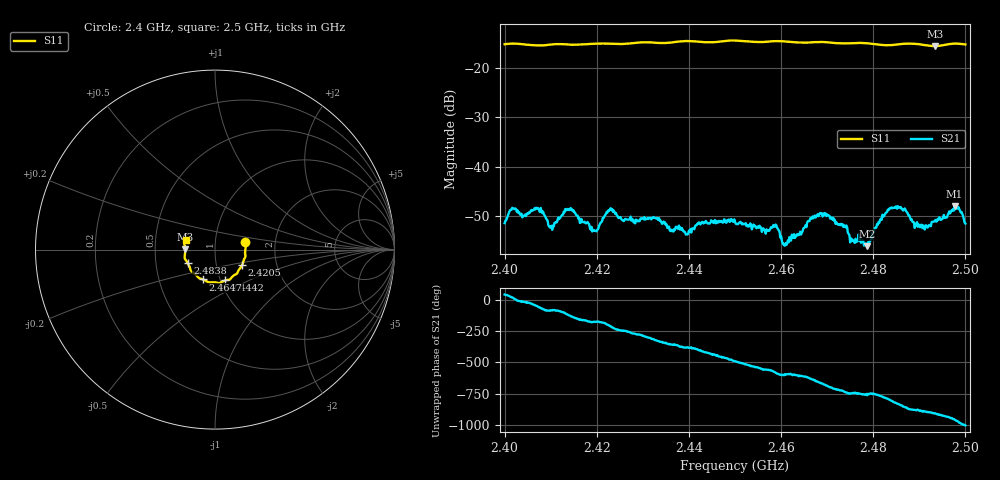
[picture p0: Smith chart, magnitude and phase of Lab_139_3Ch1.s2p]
# Hz S RI R 50
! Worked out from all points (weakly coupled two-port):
!   601 points, 2.4 GHz to 2.5 GHz, reference 50 ohm
!   highest |S21| = -48.02 dB at 2.4977 GHz (marker M1); lowest = -56.1 dB at 2.4787 GHz (marker M2)
!   lowest |S11| = -15.6 dB at 2.4935 GHz (marker M3), VSWR 1.40, Z = 35.8 + j0.138 ohm
!   |S11| at or under -10 dB: start of sweep to end of sweep
!   S12 and S22 are empty: the file has one direction only
!   S11 on the Smith chart (normalised r, x): 2.4 GHz: 1.40, +0.11; 2.4205 GHz: 1.33, -0.24; 2.4442 GHz: 1.05, -0.37; 2.4647 GHz: 0.83, -0.29; 2.4838 GHz: 0.73, -0.11; 2.5 GHz: 0.71, +0.08
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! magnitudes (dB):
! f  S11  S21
! 2.4 GHz  -15.2  -51.5
! 2.4068 GHz  -15.5  -48.3
! 2.41 GHz  -15.3  -52.1
! 2.4137 GHz  -15.3  -48.6
! 2.4167 GHz  -15.3  -50.6
! 2.4205 GHz  -15.1  -52.0
! 2.423 GHz  -15.1  -48.4
! 2.4333 GHz  -15.0  -50.8
! 2.4393 GHz  -14.6  -53.8
! 2.4442 GHz  -14.9  -51.5
! 2.45 GHz  -14.5  -51.1
! 2.4588 GHz  -14.6  -51.7
! 2.4608 GHz  -14.7  -56.0
! 2.4647 GHz  -14.9  -53.1
! 2.4667 GHz  -14.9  -50.6
! 2.4698 GHz  -14.8  -50.0
! 2.4787 GHz  -15.1  -56.1
! 2.4833 GHz  -15.5  -48.8
! 2.4838 GHz  -15.4  -48.5
! 2.4935 GHz  -15.6  -50.8
! 2.4977 GHz  -15.1  -48.0
! 2.5 GHz  -15.3  -51.6
